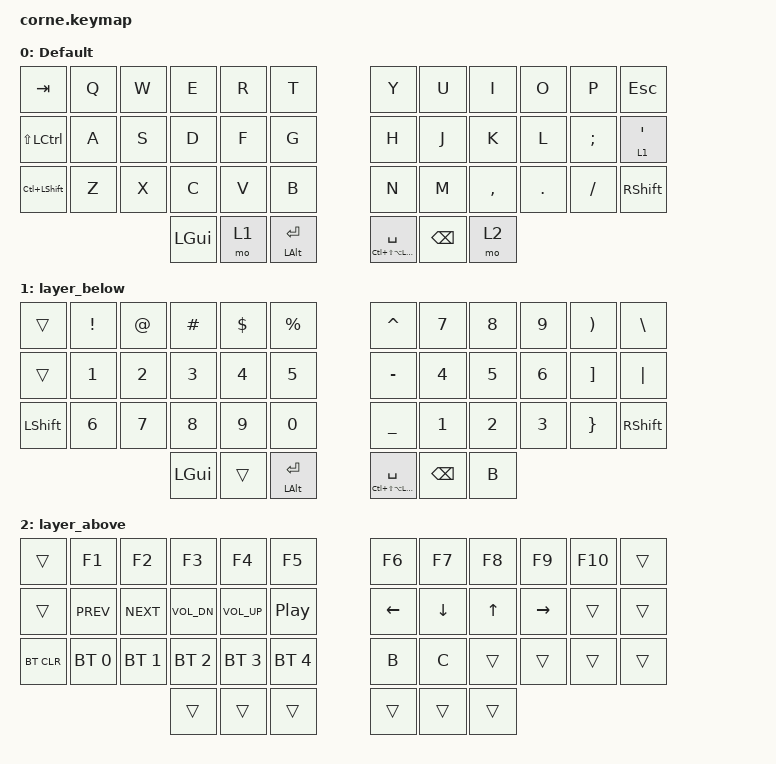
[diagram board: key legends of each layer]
/*
 * Copyright (c) 2020 The ZMK Contributors
 *
 * SPDX-License-Identifier: MIT
 */

#include <behaviors.dtsi>
#include <dt-bindings/zmk/bt.h>
#include <dt-bindings/zmk/keys.h>

/ {
    behaviors {
        tp: tap_preferred {
            compatible = "zmk,behavior-hold-tap";
            label = "TAP_PREFERRED";
            #binding-cells = <2>;
            tapping-term-ms = <150>;
            quick-tap-ms = <0>;
            flavor = "tap-preferred";
            bindings = <&kp>, <&kp>;
        };
    };

    keymap {
        compatible = "zmk,keymap";

        default_layer {
            // -----------------------------------------------------------------------------------------
            // | TAB  |  Q  |  W  |  E  |  R  |    T    |   |  Y  |  U   |  I  |  O  |  P  | ESC |
            // | CTRL |  A  |  S  |  D  |  F  |    G    |   |  H  |  J   |  K  |  L  |  ;  |  LWR/'   |
            // | SHFT |  Z  |  X  |  C  |  V  |    B    |   |  N  |  M   |  ,  |  .  |  /  | SHFT |
            //                    | GUI | LWR | ALT/ENT |   | HYPER/SPC | BKSP  | RSE |

            bindings = <
&kp TAB        &kp Q  &kp W  &kp E     &kp R  &kp T           &kp Y                       &kp U     &kp I      &kp O    &kp P     &kp ESC
&kp LS(LCTRL)  &kp A  &kp S  &kp D     &kp F  &kp G           &kp H                       &kp J     &kp K      &kp L    &kp SEMI  &lt 1 SQT
&kp LC(LSHFT)  &kp Z  &kp X  &kp C     &kp V  &kp B           &kp N                       &kp M     &kp COMMA  &kp DOT  &kp FSLH  &kp RSHFT
                             &kp LGUI  &mo 1  &tp LALT RET    &tp LC(LS(LA(LGUI))) SPACE  &kp BSPC  &mo 2
            >;

            label = "Default";
        };

        layer_below {
            // -----------------------------------------------------------------------------------------
            // |      |  !  |  @  |  #  |  $  |    %     |   |  ^  |  &  |  *  |  (  |  )  |   \   |
            // |      |  1  |  2  |  3  |  4  |    5     |   |  -  |  =  |  `  |  [  |  ]  |  "|"  |
            // | SHFT |  6  |  7  |  8  |  9  |    0     |   |  _  |  +  |  ~  |  {  |  }  | RSHFT |
            //                     | GUI |     | ALT/ENT |   | HYPER/SPACE | BKSP |    |

            bindings = <
&trans     &kp EXCL  &kp AT  &kp HASH  &kp DLLR  &kp PRCNT       &kp CARET                   &kp N7        &kp N8        &kp N9        &kp RPAR  &kp BSLH
&trans     &kp N1    &kp N2  &kp N3    &kp N4    &kp N5          &kp MINUS                   &kp NUMBER_4  &kp N5        &kp NUMBER_6  &kp RBKT  &kp PIPE
&kp LSHFT  &kp N6    &kp N7  &kp N8    &kp N9    &kp N0          &kp UNDER                   &kp N1        &kp NUMBER_2  &kp NUMBER_3  &kp RBRC  &kp RSHFT
                             &kp LGUI  &trans    &tp LALT RET    &tp LC(LS(LA(LGUI))) SPACE  &kp BSPC      &kp B
            >;
        };

        layer_above {
            // -----------------------------------------------------------------------------------------
            // |       |  F1  |  F2  |  F3  |  F4  |  F5 |            |  F6  |  F7  |  F8  |  F9  |  F10  |   |
            // |       | Prev | Next | Vol - | Vol + | Play/Pause |   |      | LFT | DWN |  UP | RGT |     |     |
            // | BTCLR | BT1 | BT2 | BT3 | BT4 | BT5 |   |            |     |     |     |     |     |     |
            //                    |     |     |    |                  |     |     |     |

            bindings = <
&trans      &kp F1        &kp F2        &kp F3        &kp F4        &kp F5          &kp F6    &kp F7    &kp F8  &kp F9     &kp F10  &trans
&trans      &kp C_PREV    &kp C_NEXT    &kp C_VOL_DN  &kp C_VOL_UP  &kp C_PP        &kp LEFT  &kp DOWN  &kp UP  &kp RIGHT  &trans   &trans
&bt BT_CLR  &bt BT_SEL 0  &bt BT_SEL 1  &bt BT_SEL 2  &bt BT_SEL 3  &bt BT_SEL 4    &kp B     &kp C     &trans  &trans     &trans   &trans
                                        &trans        &trans        &trans          &trans    &trans    &trans
            >;
        };
    };
};
